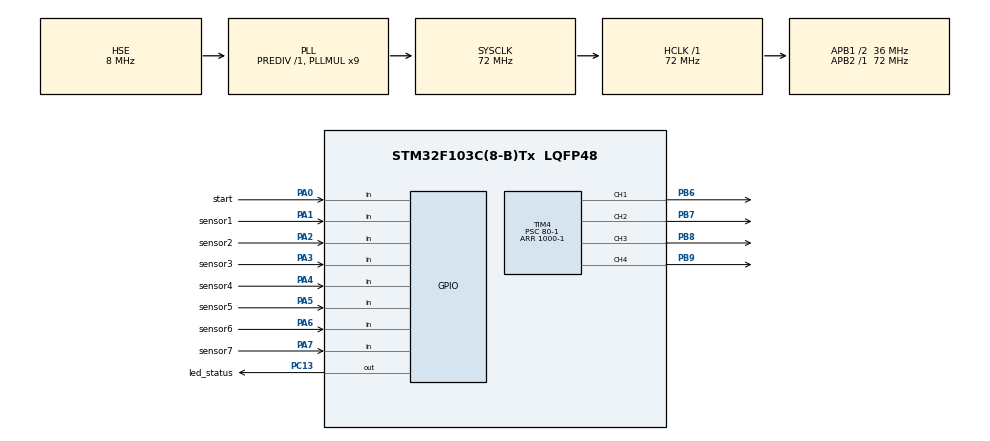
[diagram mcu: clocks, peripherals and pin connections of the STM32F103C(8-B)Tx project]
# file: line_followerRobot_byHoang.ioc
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Mcu.Family=STM32F1
Mcu.Name=STM32F103C(8-B)Tx
Mcu.Package=LQFP48
NVIC.PriorityGroup=NVIC_PRIORITYGROUP_4
PA0-WKUP.GPIO_Label=start
PA0-WKUP.GPIO_PuPd=GPIO_PULLUP
PA0-WKUP.Signal=GPIO_Input
PA1.GPIO_Label=sensor1
PA1.Signal=GPIO_Input
PA13.Mode=Serial_Wire
PA13.Signal=SYS_JTMS-SWDIO
PA14.Mode=Serial_Wire
PA14.Signal=SYS_JTCK-SWCLK
PA2.GPIO_Label=sensor2
PA2.GPIO_PuPd=GPIO_NOPULL
PA2.Signal=GPIO_Input
PA3.GPIO_Label=sensor3
PA3.GPIO_PuPd=GPIO_NOPULL
PA3.Signal=GPIO_Input
PA4.GPIO_Label=sensor4
PA4.GPIO_PuPd=GPIO_NOPULL
PA4.Signal=GPIO_Input
PA5.GPIO_Label=sensor5
PA5.GPIO_PuPd=GPIO_NOPULL
PA5.Signal=GPIO_Input
PA6.GPIO_Label=sensor6
PA6.GPIO_PuPd=GPIO_NOPULL
PA6.Signal=GPIO_Input
PA7.GPIO_Label=sensor7
PA7.Signal=GPIO_Input
PB6.Signal=S_TIM4_CH1
PB7.Signal=S_TIM4_CH2
PB8.Signal=S_TIM4_CH3
PB9.Signal=S_TIM4_CH4
PC13-TAMPER-RTC.GPIO_Label=led_status
PC13-TAMPER-RTC.GPIO_Speed=GPIO_SPEED_FREQ_LOW
PC13-TAMPER-RTC.PinState=GPIO_PIN_SET
PC13-TAMPER-RTC.Signal=GPIO_Output
PD0-OSC_IN.Mode=HSE-External-Oscillator
PD0-OSC_IN.Signal=RCC_OSC_IN
PD1-OSC_OUT.Mode=HSE-External-Oscillator
PD1-OSC_OUT.Signal=RCC_OSC_OUT
ProjectManager.HeapSize=0x200
ProjectManager.StackSize=0x400
ProjectManager.TargetToolchain=MDK-ARM V5.27
RCC.AHBFreq_Value=72000000
RCC.APB1CLKDivider=RCC_HCLK_DIV2
RCC.APB1Freq_Value=36000000
RCC.APB1TimFreq_Value=72000000
RCC.APB2Freq_Value=72000000
RCC.APB2TimFreq_Value=72000000
RCC.HCLKFreq_Value=72000000
RCC.PLLMUL=RCC_PLL_MUL9
RCC.PLLSourceVirtual=RCC_PLLSOURCE_HSE
RCC.SYSCLKFreq_VALUE=72000000
RCC.SYSCLKSource=RCC_SYSCLKSOURCE_PLLCLK
RCC.USBFreq_Value=72000000
SH.S_TIM4_CH1.0=TIM4_CH1,PWM Generation1 CH1
SH.S_TIM4_CH2.0=TIM4_CH2,PWM Generation2 CH2
SH.S_TIM4_CH3.0=TIM4_CH3,PWM Generation3 CH3
SH.S_TIM4_CH4.0=TIM4_CH4,PWM Generation4 CH4
TIM3.Prescaler=72-1
TIM4.Channel-PWM\ Generation1\ CH1=TIM_CHANNEL_1
TIM4.Channel-PWM\ Generation2\ CH2=TIM_CHANNEL_2
TIM4.Channel-PWM\ Generation3\ CH3=TIM_CHANNEL_3
TIM4.Channel-PWM\ Generation4\ CH4=TIM_CHANNEL_4
TIM4.Period=1000-1
TIM4.Prescaler=80-1
VP_TIM3_VS_ClockSourceINT.Mode=Internal
VP_TIM4_VS_ClockSourceINT.Mode=Internal
board=custom

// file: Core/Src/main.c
/* USER CODE BEGIN Header */
/**
  ******************************************************************************
  * @file           : main.c
  * @brief          : Main program body
  ******************************************************************************
  * @attention
  *
  * Copyright (c) 2022 STMicroelectronics.
  * All rights reserved.
  *
  * This software is licensed under terms that can be found in the LICENSE file
  * in the root directory of this software component.
  * If no LICENSE file comes with this software, it is provided AS-IS.
  *
  ******************************************************************************
  */
/* USER CODE END Header */
#include "main.h"

TIM_HandleTypeDef htim3;
TIM_HandleTypeDef htim4;

/* USER CODE BEGIN PV */
	int position,E,speed,speedr,speedl;
	char sensor_read[7];

	const float Kp = 0.00035; //set up the constants value
	const float Ki = 0.00015;
	const float Kd = 10;
	int32_t P = 0,I = 0,D = 0;
	int32_t error;
	int lastError = 0;
	int errors[10] = {0,0,0,0,0,0,0,0,0,0};
	int error_sum = 0;
	int last_end = 0;	// 0 -> Left, 1 -> Right
	int last_endside = 0;	// 0 -> Left, 1 -> Right
	int last_idle = 0;

	const uint8_t maxspeedr = 50;
	const uint8_t maxspeedl = 50;
	const uint8_t basespeedr = 45;
	const uint8_t basespeedl = 45;
	const uint8_t basespeed = 20;
	const int ARR = 10;

	int actives = 0;
/* USER CODE END PV */

void SystemClock_Config(void);
static void MX_GPIO_Init(void);
static void MX_TIM3_Init(void);
static void MX_TIM4_Init(void);
/* USER CODE BEGIN PFP */
//void delay_us(uint16_t us);
//void sharp_turn();
//int Sensor_Read();
//void motor_control(double pos_right, double pos_left);
//void forward_brake(int pos_right,int pos_left);
//void past_errors(int error);
//int errors_sum (int index,int abs);
//void PID_control();
/* USER CODE END PFP */

/* USER CODE BEGIN 0 */
void delay_us(uint16_t us)
{
	__HAL_TIM_SET_COUNTER(&htim3,0);
	while(__HAL_TIM_GET_COUNTER(&htim3)<us);
}

void motor_control(double pos_right, double pos_left)
{
//	__HAL_TIM_SET_COMPARE (&htim4, TIM_CHANNEL_1, ARR*pos_right);
//	__HAL_TIM_SET_COMPARE (&htim4, TIM_CHANNEL_2, 0);
//	__HAL_TIM_SET_COMPARE (&htim4, TIM_CHANNEL_3, ARR*pos_left);
//	__HAL_TIM_SET_COMPARE (&htim4, TIM_CHANNEL_4, 0);
	if(pos_right < 0)
	{
		__HAL_TIM_SET_COMPARE (&htim4, TIM_CHANNEL_1, 0);
		__HAL_TIM_SET_COMPARE (&htim4, TIM_CHANNEL_2, ARR*(-pos_right));
	}
	else
	{
		__HAL_TIM_SET_COMPARE (&htim4, TIM_CHANNEL_1, ARR*pos_right);
		__HAL_TIM_SET_COMPARE (&htim4, TIM_CHANNEL_2, 0);
	}
	if(pos_left < 0)
	{
		__HAL_TIM_SET_COMPARE (&htim4, TIM_CHANNEL_3, 0);
		__HAL_TIM_SET_COMPARE (&htim4, TIM_CHANNEL_4, ARR*(-pos_left));
	}
	else
	{
		__HAL_TIM_SET_COMPARE (&htim4, TIM_CHANNEL_3, ARR*pos_left);
		__HAL_TIM_SET_COMPARE (&htim4, TIM_CHANNEL_4, 0);
	}
}

void sharp_turn()
{
	if(last_idle > 25)
	{
//		if(last_end == 1) motor_control(-35, 50);
//		else motor_control(50, -35);
		if(last_endside == 1) motor_control(-30, 50);
		else motor_control(50, -30);
	}
	else
	{
//		if(last_end == 1) motor_control(-20, 50);
//		else motor_control(50, -20);
		if(last_endside == 1) motor_control(-20, 40);
		else motor_control(40, -20);
	}
}

int32_t Sensor_Read()
{
	// Threshold
	delay_us(5000);

	int32_t pos = 0;
  int active = 0;

	if (HAL_GPIO_ReadPin(sensor1_GPIO_Port,sensor1_Pin)==1)
	{
		pos += 10000;
    active++;
		last_endside = 1;
  }

	if (HAL_GPIO_ReadPin(sensor2_GPIO_Port,sensor2_Pin)==0)
	{
		pos += 20000;
    active++;
		last_end = 1; // 0 -> Left, 1 -> Right
	}
	if (HAL_GPIO_ReadPin(sensor3_GPIO_Port,sensor3_Pin)==0)
	{
		pos += 30000;
    active++;
  }
	if (HAL_GPIO_ReadPin(sensor4_GPIO_Port,sensor4_Pin)==0)
	{
		pos += 40000;
    active++;
  }
	if (HAL_GPIO_ReadPin(sensor5_GPIO_Port,sensor5_Pin)==0)
	{
		pos += 50000;
    active++;
  }
	if (HAL_GPIO_ReadPin(sensor6_GPIO_Port,sensor6_Pin)==0)
	{
		pos +=60000;
    active++;
		last_end = 0; // 0 -> Left, 1 -> Right
  }
	if (HAL_GPIO_ReadPin(sensor7_GPIO_Port,sensor7_Pin)==1)
	{
		pos += 70000;
    active++;
		last_endside = 0;
  }

	position = pos/active;
  actives = active;

	if (actives == 0) last_idle++;
	else last_idle = 0;

	return pos/active;
}

void forward_brake(int pos_right,int pos_left)
{
	if(actives == 0) sharp_turn();
	else motor_control(pos_right,pos_left);
}

void past_errors(int error)
{
  for(int i=9;i>0;i--) errors[i]=errors[i-1];
  errors[0]=error;
}

int errors_sum (int index,int abs)
{
  int sum = 0;
  for(int i=0;i<index;i++)
  {
    if(abs==1&errors[i]<0) sum+=-errors[i];
    else sum+=errors[i];
  }
  return sum;
}

void PID_control()
{
	int32_t position = Sensor_Read();
  error = 40000 - position;
	past_errors(error);

  P = error;
  I = errors_sum(5, 0);
//	I = I + error;
  D = error - lastError;

  int motorspeed = P*Kp + I*Ki + D*Kd;
//  int motorspeed = (error*Kp) + (I + error)*Ki + (error - lastError)*Kd;

	lastError = error;

  int motorspeedl = basespeedl + motorspeed;
  int motorspeedr = basespeedr - motorspeed;

//	if(error == 20000){motorspeedr = -10; motorspeedl = 50;}
//	if(error == -20000){motorspeedr = 50; motorspeedl = -10;}

  if (motorspeedl > maxspeedl) motorspeedl = maxspeedl;
  if (motorspeedr > maxspeedr) motorspeedr = maxspeedr;

//	if(error==0) motorspeedr=motorspeedl=basespeed;
	E = error; speed = motorspeed; speedr = motorspeedr; speedl = motorspeedl; // debug
	forward_brake(motorspeedr, motorspeedl);
//	motor_control(motorspeedr,motorspeedl);
}

void debug_sensor()
{
	int read;
	for(char i=0;i<7;i++)
	{
		read = HAL_GPIO_ReadPin(GPIOA,(uint16_t)0x0002<<i);
		sensor_read[i]=read;
	}
}
/* USER CODE END 0 */

int main(void)
{
  /* USER CODE BEGIN 1 */
	_Bool ok = 0;
  /* USER CODE END 1 */

  /* MCU Configuration--------------------------------------------------------*/

  /* Reset of all peripherals, Initializes the Flash interface and the Systick. */
  HAL_Init();

  /* Configure the system clock */
  SystemClock_Config();

  /* Initialize all configured peripherals */
  MX_GPIO_Init();
  MX_TIM3_Init();
  MX_TIM4_Init();
  /* USER CODE BEGIN 2 */
	HAL_TIM_Base_Start(&htim3);
	HAL_TIM_PWM_Start(&htim4,TIM_CHANNEL_1);
	HAL_TIM_PWM_Start(&htim4,TIM_CHANNEL_2);
	HAL_TIM_PWM_Start(&htim4,TIM_CHANNEL_3);
	HAL_TIM_PWM_Start(&htim4,TIM_CHANNEL_4);

	__HAL_TIM_SET_COMPARE(&htim4,TIM_CHANNEL_1,0);
	__HAL_TIM_SET_COMPARE(&htim4,TIM_CHANNEL_2,0);
	__HAL_TIM_SET_COMPARE(&htim4,TIM_CHANNEL_3,0);
	__HAL_TIM_SET_COMPARE(&htim4,TIM_CHANNEL_4,0);
	HAL_Delay(2000);
//	while(ok == 0)
//	{
//		if(HAL_GPIO_ReadPin(start_GPIO_Port,start_Pin) == 0) ok = 1;
//	}
  /* USER CODE END 2 */

  /* Infinite loop */
  /* USER CODE BEGIN WHILE */
  while (1)
  {
		PID_control();
//		Sensor_Read();
		debug_sensor();
//		if(HAL_GPIO_ReadPin(sensor1_GPIO_Port,sensor1_Pin)==1)
//		{
//			motor_control(-45, 45);
//			HAL_Delay(200);
//			motor_control(0,0);
//			HAL_Delay(50);
//		}
//		if(HAL_GPIO_ReadPin(sensor7_GPIO_Port,sensor7_Pin)==1)
//		{
//			motor_control(45, -45);
//			HAL_Delay(200);
//			motor_control(0,0);
//			HAL_Delay(50);
//		}
    /* USER CODE END WHILE */

  }
}

void SystemClock_Config(void)
{
  RCC_OscInitTypeDef RCC_OscInitStruct = {0};
  RCC_ClkInitTypeDef RCC_ClkInitStruct = {0};

  /** Initializes the RCC Oscillators according to the specified parameters
  * in the RCC_OscInitTypeDef structure.
  */
  RCC_OscInitStruct.OscillatorType = RCC_OSCILLATORTYPE_HSE;
  RCC_OscInitStruct.HSEState = RCC_HSE_ON;
  RCC_OscInitStruct.HSEPredivValue = RCC_HSE_PREDIV_DIV1;
  RCC_OscInitStruct.HSIState = RCC_HSI_ON;
  RCC_OscInitStruct.PLL.PLLState = RCC_PLL_ON;
  RCC_OscInitStruct.PLL.PLLSource = RCC_PLLSOURCE_HSE;
  RCC_OscInitStruct.PLL.PLLMUL = RCC_PLL_MUL9;
  if (HAL_RCC_OscConfig(&RCC_OscInitStruct) != HAL_OK)
  {
    Error_Handler();
  }
  /** Initializes the CPU, AHB and APB buses clocks
  */
  RCC_ClkInitStruct.ClockType = RCC_CLOCKTYPE_HCLK|RCC_CLOCKTYPE_SYSCLK
                              |RCC_CLOCKTYPE_PCLK1|RCC_CLOCKTYPE_PCLK2;
  RCC_ClkInitStruct.SYSCLKSource = RCC_SYSCLKSOURCE_PLLCLK;
  RCC_ClkInitStruct.AHBCLKDivider = RCC_SYSCLK_DIV1;
  RCC_ClkInitStruct.APB1CLKDivider = RCC_HCLK_DIV2;
  RCC_ClkInitStruct.APB2CLKDivider = RCC_HCLK_DIV1;

  if (HAL_RCC_ClockConfig(&RCC_ClkInitStruct, FLASH_LATENCY_2) != HAL_OK)
  {
    Error_Handler();
  }
}

static void MX_TIM3_Init(void)
{

  TIM_ClockConfigTypeDef sClockSourceConfig = {0};
  TIM_MasterConfigTypeDef sMasterConfig = {0};

  htim3.Instance = TIM3;
  htim3.Init.Prescaler = 72-1;
  htim3.Init.CounterMode = TIM_COUNTERMODE_UP;
  htim3.Init.Period = 65535;
  htim3.Init.ClockDivision = TIM_CLOCKDIVISION_DIV1;
  htim3.Init.AutoReloadPreload = TIM_AUTORELOAD_PRELOAD_DISABLE;
  if (HAL_TIM_Base_Init(&htim3) != HAL_OK)
  {
    Error_Handler();
  }
  sClockSourceConfig.ClockSource = TIM_CLOCKSOURCE_INTERNAL;
  if (HAL_TIM_ConfigClockSource(&htim3, &sClockSourceConfig) != HAL_OK)
  {
    Error_Handler();
  }
  sMasterConfig.MasterOutputTrigger = TIM_TRGO_RESET;
  sMasterConfig.MasterSlaveMode = TIM_MASTERSLAVEMODE_DISABLE;
  if (HAL_TIMEx_MasterConfigSynchronization(&htim3, &sMasterConfig) != HAL_OK)
  {
    Error_Handler();
  }

}

static void MX_TIM4_Init(void)
{

  TIM_ClockConfigTypeDef sClockSourceConfig = {0};
  TIM_MasterConfigTypeDef sMasterConfig = {0};
  TIM_OC_InitTypeDef sConfigOC = {0};

  htim4.Instance = TIM4;
  htim4.Init.Prescaler = 80-1;
  htim4.Init.CounterMode = TIM_COUNTERMODE_UP;
  htim4.Init.Period = 1000-1;
  htim4.Init.ClockDivision = TIM_CLOCKDIVISION_DIV1;
  htim4.Init.AutoReloadPreload = TIM_AUTORELOAD_PRELOAD_DISABLE;
  if (HAL_TIM_Base_Init(&htim4) != HAL_OK)
  {
    Error_Handler();
  }
  sClockSourceConfig.ClockSource = TIM_CLOCKSOURCE_INTERNAL;
  if (HAL_TIM_ConfigClockSource(&htim4, &sClockSourceConfig) != HAL_OK)
  {
    Error_Handler();
  }
  if (HAL_TIM_PWM_Init(&htim4) != HAL_OK)
  {
    Error_Handler();
  }
  sMasterConfig.MasterOutputTrigger = TIM_TRGO_RESET;
  sMasterConfig.MasterSlaveMode = TIM_MASTERSLAVEMODE_DISABLE;
  if (HAL_TIMEx_MasterConfigSynchronization(&htim4, &sMasterConfig) != HAL_OK)
  {
    Error_Handler();
  }
  sConfigOC.OCMode = TIM_OCMODE_PWM1;
  sConfigOC.Pulse = 0;
  sConfigOC.OCPolarity = TIM_OCPOLARITY_HIGH;
  sConfigOC.OCFastMode = TIM_OCFAST_DISABLE;
  if (HAL_TIM_PWM_ConfigChannel(&htim4, &sConfigOC, TIM_CHANNEL_1) != HAL_OK)
  {
    Error_Handler();
  }
  if (HAL_TIM_PWM_ConfigChannel(&htim4, &sConfigOC, TIM_CHANNEL_2) != HAL_OK)
  {
    Error_Handler();
  }
  if (HAL_TIM_PWM_ConfigChannel(&htim4, &sConfigOC, TIM_CHANNEL_3) != HAL_OK)
  {
    Error_Handler();
  }
  if (HAL_TIM_PWM_ConfigChannel(&htim4, &sConfigOC, TIM_CHANNEL_4) != HAL_OK)
  {
    Error_Handler();
  }
  HAL_TIM_MspPostInit(&htim4);

}

static void MX_GPIO_Init(void)
{
  GPIO_InitTypeDef GPIO_InitStruct = {0};

  /* GPIO Ports Clock Enable */
  __HAL_RCC_GPIOC_CLK_ENABLE();
  __HAL_RCC_GPIOD_CLK_ENABLE();
  __HAL_RCC_GPIOA_CLK_ENABLE();
  __HAL_RCC_GPIOB_CLK_ENABLE();

  /*Configure GPIO pin Output Level */
  HAL_GPIO_WritePin(led_status_GPIO_Port, led_status_Pin, GPIO_PIN_SET);

  /*Configure GPIO pin : led_status_Pin */
  GPIO_InitStruct.Pin = led_status_Pin;
  GPIO_InitStruct.Mode = GPIO_MODE_OUTPUT_PP;
  GPIO_InitStruct.Pull = GPIO_NOPULL;
  GPIO_InitStruct.Speed = GPIO_SPEED_FREQ_LOW;
  HAL_GPIO_Init(led_status_GPIO_Port, &GPIO_InitStruct);

  /*Configure GPIO pin : start_Pin */
  GPIO_InitStruct.Pin = start_Pin;
  GPIO_InitStruct.Mode = GPIO_MODE_INPUT;
  GPIO_InitStruct.Pull = GPIO_PULLUP;
  HAL_GPIO_Init(start_GPIO_Port, &GPIO_InitStruct);

  /*Configure GPIO pins : sensor1_Pin sensor2_Pin sensor3_Pin sensor4_Pin
                           sensor5_Pin sensor6_Pin sensor7_Pin */
  GPIO_InitStruct.Pin = sensor1_Pin|sensor2_Pin|sensor3_Pin|sensor4_Pin
                          |sensor5_Pin|sensor6_Pin|sensor7_Pin;
  GPIO_InitStruct.Mode = GPIO_MODE_INPUT;
  GPIO_InitStruct.Pull = GPIO_NOPULL;
  HAL_GPIO_Init(GPIOA, &GPIO_InitStruct);

}

void Error_Handler(void)
{
  __disable_irq();
  while (1)
  {
  }
}
